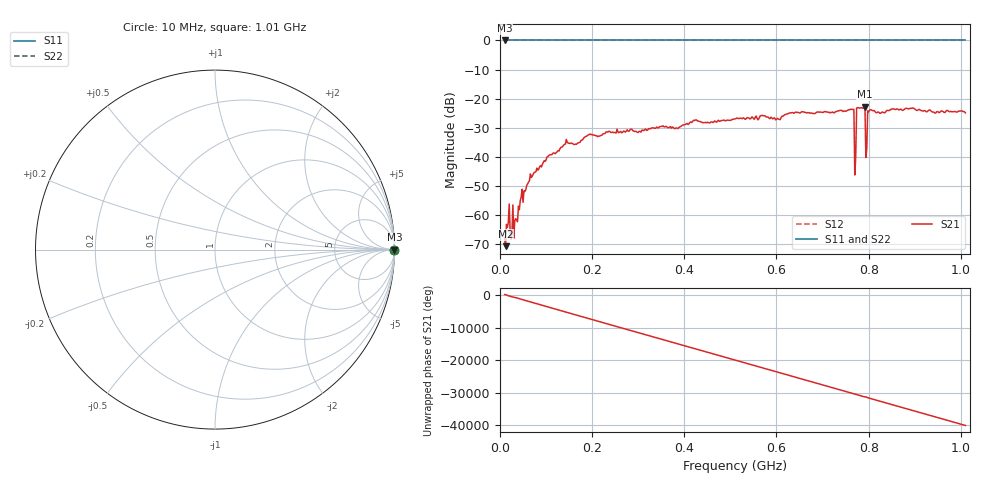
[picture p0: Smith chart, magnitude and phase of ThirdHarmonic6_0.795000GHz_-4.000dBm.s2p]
! 8/16/2025 2:30:37 AM
! C:\ANRITSUVNA\TEMP\TEMP.S2P
! CHANNEL.1
! TR.MEASUREMENT
! RAW.DATA
! RF.CORRECTION.OFF
! AVERAGING.OFF
! IF.BANDWIDTH: 5KHZ
! SWEEPTYPE:  FREQ.SWEEP(Linear)
! Reference Plane Port Info
! PORT:  PORT1  PORT2
! DISTANCE:  0  m  0  m
! TIME:  0  s  0  s
! PHASE.OFFSET:  0  deg.  0  deg.
! LOSS:  0  dB  0  dB
! REF.LOSS:  0  dB  0  dB
! REF.FREQ:  0  Hz  0  Hz
! Power Info
! POWER:  -20  dBm  -20  dBm
! EFF.POWER:  -20  dBm  -20  dBm
! SOURCE.ATTEN:  0  dB  0  dB
! TEST.ATTEN:  0  dB  0  dB
# GHZ S RI R 50.0
! FREQ.GHZ  S11RE  S11IM  S21RE  S21IM  S12RE  S12IM  S22RE  S22IM
!; PortSelection: Port_12
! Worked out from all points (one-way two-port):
!   501 points, 10 MHz to 1.01 GHz, reference 50 ohm
!   highest |S21| = -22.79 dB at 792 MHz (marker M1); lowest = -70.7 dB at 12 MHz (marker M2)
!   lowest |S11| = 0.0 dB at 10 MHz (marker M3)
!   |S11| at or under -10 dB: nowhere
!   |S22| runs from 0.0 to 0.0 dB; largest |S21 - S12| = 1.1
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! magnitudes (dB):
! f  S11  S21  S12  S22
! 10 MHz  0.0  -67.8  0.0  0.0
! 12 MHz  0.0  -70.7  0.0  0.0
! 18 MHz  0.0  -62.6  0.0  0.0
! 26 MHz  0.0  -66.1  0.0  0.0
! 34 MHz  0.0  -61.3  0.0  0.0
! 44 MHz  0.0  -55.0  0.0  0.0
! 70 MHz  0.0  -46.6  0.0  0.0
! 142 MHz  0.0  -35.6  0.0  0.0
! 178 MHz  0.0  -34.2  0.0  0.0
! 344 MHz  0.0  -30.0  0.0  0.0
! 510 MHz  0.0  -27.0  0.0  0.0
! 678 MHz  0.0  -25.1  0.0  0.0
! 764 MHz  0.0  -23.7  0.0  0.0
! 768 MHz  0.0  -23.7  0.0  0.0
! 774 MHz  0.0  -23.2  0.0  0.0
! 778 MHz  0.0  -23.1  0.0  0.0
! 788 MHz  0.0  -23.3  0.0  0.0
! 792 MHz  0.0  -22.8  0.0  0.0
! 798 MHz  0.0  -24.2  0.0  0.0
! 802 MHz  0.0  -24.0  0.0  0.0
! 844 MHz  0.0  -24.1  0.0  0.0
! 1.01 GHz  0.0  -24.9  0.0  0.0
